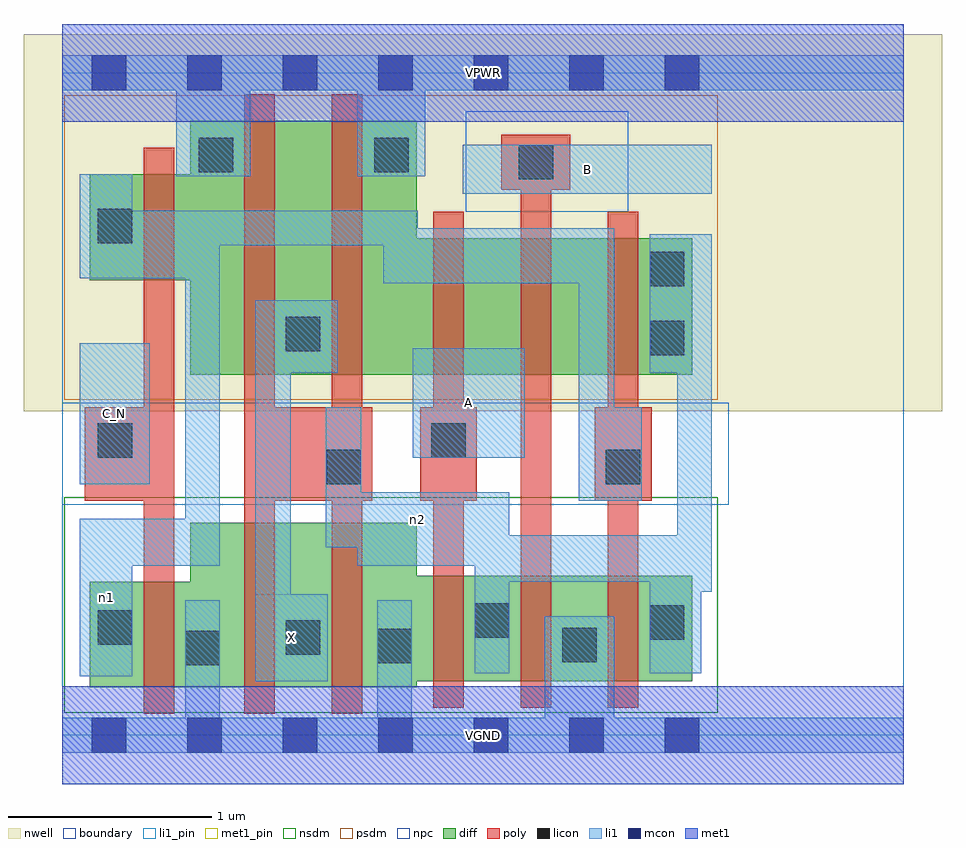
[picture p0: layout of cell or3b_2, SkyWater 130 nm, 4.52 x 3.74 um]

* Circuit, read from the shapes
.subckt or3b_2 A B C_N VGND VPWR X n1 n2
XM1 VGND C_N n1 VSUBS sky130_fd_pr__nfet_01v8 w=0.52 l=0.15
XM2 X n2 VGND VSUBS sky130_fd_pr__nfet_01v8 w=0.81 l=0.15 m=2
XM3 n2 A VGND VSUBS sky130_fd_pr__nfet_01v8 w=0.52 l=0.15
XM4 VGND B n2 VSUBS sky130_fd_pr__nfet_01v8 w=0.52 l=0.15
XM5 n2 n1 VGND VSUBS sky130_fd_pr__nfet_01v8 w=0.52 l=0.15
XM6 VPWR C_N n1 n3 sky130_fd_pr__pfet_01v8 w=0.52 l=0.15
XM7 X n2 VPWR n3 sky130_fd_pr__pfet_01v8 w=1.25 l=0.15 m=2
XM8 n4 A VPWR n3 sky130_fd_pr__pfet_01v8 w=0.67 l=0.15
XM9 n5 B n4 n3 sky130_fd_pr__pfet_01v8 w=0.67 l=0.15
XM10 n2 n1 n5 n3 sky130_fd_pr__pfet_01v8 w=0.67 l=0.15
.ends

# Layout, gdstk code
import gdstk
lib = gdstk.Library(unit=1e-6, precision=1e-09)
def R(c, l, rs):  # rectangles x0, y0, x1, y1
    for r in rs: c.add(gdstk.rectangle(r[:2], r[2:], *l))
def A(c, l, x, y, w, h, nx, ny, dx, dy):  # array of equal rectangles
    R(c, l, [(x+i*dx, y+j*dy, x+i*dx+w, y+j*dy+h) for i in range(nx) for j in range(ny)])
nwell = (64, 20)
diff = (65, 20)
poly = (66, 20)
licon = (66, 44)
li1_pin = (67, 16)
li1 = (67, 20)
mcon = (67, 44)
met1_pin = (68, 16)
met1 = (68, 20)
nsdm = (93, 44)
psdm = (94, 20)
npc = (95, 20)
boundary = (235, 4)

or3b_2 = lib.new_cell('or3b_2')
R(or3b_2, nwell, [(-0.19,1.595,4.33,3.45), (0,1.595,4.14,3.45)])
R(or3b_2, diff, [(0.135,0.235,1.745,0.755), (0.63,0.235,1.745,1.045), (0.135,0.265,3.1,0.755), (0.63,0.265,3.1,0.785), (0.63,1.775,1.745,3.025), (0.63,1.775,3.1,2.445), (0.135,2.24,1.745,2.76)])
R(or3b_2, poly, [(0.4,0.105,0.55,2.89), (0.895,0.105,1.045,3.155), (1.325,0.105,1.475,3.155), (1.825,0.135,1.975,2.575), (2.255,0.135,2.405,2.955), (2.685,0.135,2.835,2.575), (0.11,1.155,0.55,1.615), (0.895,1.155,1.525,1.615), (1.76,1.155,2.04,1.615), (2.62,1.155,2.9,1.615), (2.16,2.685,2.5,2.955)])
R(or3b_2, licon, [(0.605,0.345,0.775,0.515), (1.55,0.355,1.72,0.525), (2.46,0.36,2.63,0.53), (1.1,0.395,1.27,0.565), (0.175,0.445,0.345,0.615), (2.89,0.47,3.06,0.64), (2.03,0.48,2.2,0.65), (1.3,1.235,1.47,1.405), (2.675,1.235,2.845,1.405), (0.175,1.365,0.345,1.535), (1.815,1.365,1.985,1.535), (2.89,1.87,3.06,2.04), (1.1,1.89,1.27,2.06), (2.89,2.21,3.06,2.38), (0.175,2.42,0.345,2.59), (2.245,2.735,2.415,2.905), (0.67,2.77,0.84,2.94), (1.535,2.77,1.705,2.94)])
R(or3b_2, li1_pin, [(0.95,0.265,1.305,0.695), (0.085,1.235,0.43,1.93), (1.725,1.365,2.275,1.905), (1.97,2.665,3.195,2.905)])
R(or3b_2, li1, [(0,-0.085,4.14,0.085), (0.605,-0.085,0.775,0.665), (1.55,-0.085,1.72,0.665), (2.375,-0.085,2.715,0.585), (0.95,0.265,1.125,2.14), (0.95,0.265,1.305,0.695), (0.085,0.29,0.345,1.065), (2.03,0.305,2.2,1.195), (2.89,0.305,3.145,0.985), (3.025,0.705,3.195,2.465), (2.03,0.755,3.195,0.985), (0.085,0.835,0.775,1.065), (0.605,0.835,0.775,2.58), (1.45,0.835,3.025,0.985), (1.295,0.925,2.2,1.195), (1.295,0.925,1.47,1.615), (1.295,0.925,1.625,1.095), (2.54,1.155,2.715,2.495), (2.54,1.155,2.85,1.615), (0.085,1.235,0.43,1.93), (1.725,1.365,2.275,1.905), (0.95,1.785,1.355,2.14), (2.89,1.785,3.195,2.465), (1.58,2.225,2.715,2.495), (0.085,2.25,0.345,2.76), (0.085,2.25,0.775,2.58), (0.085,2.41,1.75,2.58), (1.97,2.665,3.195,2.905), (0.56,2.75,0.925,3.345), (1.45,2.75,1.785,3.345), (0,3.175,4.14,3.345)])
A(or3b_2, mcon, 0.145, -0.085, 0.17, 0.17, 7, 2, 0.47, 3.26)
R(or3b_2, met1_pin, [(0,-0.24,4.14,0.24), (0,3.02,4.14,3.5)])
R(or3b_2, met1, [(0,-0.24,4.14,0.24), (0,3.02,4.14,3.5)])
R(or3b_2, nsdm, [(0.01,0.11,3.225,1.17)])
R(or3b_2, psdm, [(0.01,1.65,3.225,3.15)])
R(or3b_2, npc, [(0,1.135,3.28,1.635), (1.985,2.575,2.785,3.07)])
R(or3b_2, boundary, [(0,0,4.14,3.26)])
or3b_2.add(gdstk.Label('A', (2,1.635), layer=67, texttype=5))
or3b_2.add(gdstk.Label('B', (2.582,2.785), layer=67, texttype=5))
or3b_2.add(gdstk.Label('C_N', (0.257,1.582), layer=67, texttype=5))
or3b_2.add(gdstk.Label('X', (1.127,0.48), layer=67, texttype=5))
or3b_2.add(gdstk.Label('n2', (1.747,1.06), layer=67, texttype=5))
or3b_2.add(gdstk.Label('n1', (0.215,0.677), layer=67, texttype=5))
or3b_2.add(gdstk.Label('VPWR', (2.07,3.26), layer=68, texttype=5))
or3b_2.add(gdstk.Label('VGND', (2.07,0), layer=68, texttype=5))
or3b_2.add(gdstk.Label('A', (2,1.635), layer=67, texttype=16))
or3b_2.add(gdstk.Label('B', (2.582,2.785), layer=67, texttype=16))
or3b_2.add(gdstk.Label('C_N', (0.257,1.582), layer=67, texttype=16))
or3b_2.add(gdstk.Label('X', (1.127,0.48), layer=67, texttype=16))
or3b_2.add(gdstk.Label('VPWR', (2.07,3.26), layer=68, texttype=16))
or3b_2.add(gdstk.Label('VGND', (2.07,0), layer=68, texttype=16))

lib.write_gds('or3b_2.gds')
